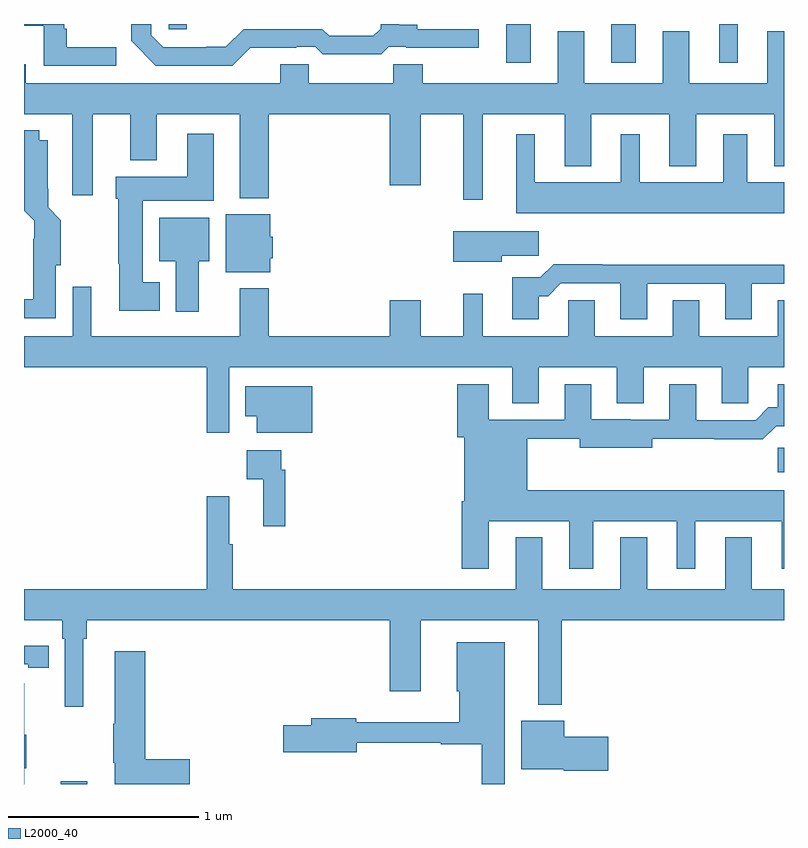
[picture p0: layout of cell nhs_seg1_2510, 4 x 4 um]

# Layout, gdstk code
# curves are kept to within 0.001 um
import gdstk
lib = gdstk.Library(unit=1e-6, precision=1e-09)
def R(c, l, rs):  # rectangles x0, y0, x1, y1
    for r in rs: c.add(gdstk.rectangle(r[:2], r[2:], *l))
def P(c, l, *ps):  # polygons
    for p in ps: c.add(gdstk.Polygon(p, *l))
L2000_40 = (2000, 40)

nhs_seg1_2510 = lib.new_cell('nhs_seg1_2510')
R(nhs_seg1_2510, L2000_40, [(247.193,556.199,247.333,556.213), (250.968,557.84,251,557.969), (249.539,559.995,249.667,560.199), (250.091,559.995,250.219,560.199), (250.658,559.995,250.756,560.199), (247.761,560.172,247.857,560.199)])
P(nhs_seg1_2510, L2000_40, [(248.192,560.075),(248.432,560.075),(248.432,560.079),(248.532,560.079),(248.572,560.04),(248.879,560.04),(248.919,560.079),(249.013,560.079),(249.013,560.075),(249.394,560.075),(249.394,560.172),(249.07,560.172),(249.07,560.195),(248.975,560.195),(248.975,560.199),(248.877,560.199),(248.877,560.175),(248.838,560.136),(248.607,560.136),(248.571,560.172),(248.157,560.172),(248.063,560.078),(247.958,560.078),(247.958,560.076),(247.734,560.076),(247.671,560.139),(247.671,560.199),(247.564,560.199),(247.564,560.111),(247.694,559.98),(248.097,559.98)],
  [(247.486,560.077),(247.225,560.077),(247.225,560.173),(247.212,560.173),(247.212,560.199),(247,560.199),(247,560.189),(247.104,560.189),(247.104,559.98),(247.486,559.98)],
  [(249.415,559.724),(249.845,559.724),(249.845,559.451),(249.985,559.451),(249.985,559.724),(250.397,559.724),(250.397,559.451),(250.537,559.451),(250.537,559.724),(250.949,559.724),(250.949,559.451),(251,559.451),(251,560.161),(250.913,560.161),(250.913,559.888),(250.501,559.888),(250.501,560.161),(250.361,560.161),(250.361,559.888),(249.949,559.888),(249.949,560.161),(249.809,560.161),(249.809,559.888),(249.099,559.888),(249.099,559.986),(248.944,559.986),(248.944,559.888),(248.499,559.888),(248.499,559.986),(248.348,559.986),(248.348,559.888),(247.009,559.888),(247.009,559.987),(247,559.987),(247,559.724),(247.253,559.724),(247.253,559.299),(247.363,559.299),(247.363,559.724),(247.559,559.724),(247.559,559.481),(247.699,559.481),(247.699,559.724),(248.135,559.724),(248.135,559.283),(248.288,559.283),(248.288,559.724),(248.924,559.724),(248.924,559.35),(249.088,559.35),(249.088,559.724),(249.311,559.724),(249.311,559.275),(249.415,559.275)],
  [(247.168,558.93),(247.194,558.93),(247.194,559.167),(247.127,559.234),(247.126,559.588),(247.081,559.588),(247.081,559.639),(247,559.639),(247,559.217),(247.053,559.164),(247.053,559.07),(247.049,559.07),(247.049,558.751),(247,558.751),(247,558.65),(247.168,558.65)],
  [(247.714,558.841),(247.624,558.841),(247.624,559.268),(247.999,559.268),(247.999,559.621),(247.859,559.621),(247.859,559.396),(247.484,559.396),(247.484,559.278),(247.495,559.278),(247.495,558.937),(247.502,558.937),(247.502,558.689),(247.714,558.689)],
  [(251,559.366),(250.807,559.366),(250.807,559.618),(250.679,559.618),(250.679,559.366),(250.24,559.366),(250.24,559.618),(250.142,559.618),(250.142,559.366),(249.688,559.366),(249.688,559.618),(249.59,559.618),(249.59,559.202),(251,559.202)],
  [(248.296,558.966),(248.308,558.966),(248.308,559.08),(248.296,559.08),(248.296,559.198),(248.063,559.198),(248.063,558.893),(248.296,558.893)],
  [(247.921,558.95),(247.975,558.95),(247.975,559.18),(247.712,559.18),(247.712,558.95),(247.799,558.95),(247.799,558.684),(247.921,558.684)],
  [(249.514,558.979),(249.709,558.979),(249.709,559.108),(249.26,559.108),(249.26,558.947),(249.514,558.947)],
  [(249.709,558.767),(249.758,558.767),(249.825,558.834),(250.139,558.834),(250.139,558.645),(250.279,558.645),(250.279,558.831),(250.691,558.831),(250.691,558.645),(250.831,558.645),(250.831,558.831),(251,558.831),(251,558.932),(250.043,558.932),(250.043,558.935),(249.788,558.935),(249.718,558.865),(249.569,558.865),(249.569,558.645),(249.709,558.645)],
  [(250.673,558.202),(250.812,558.202),(250.812,558.392),(251,558.392),(251,558.746),(250.967,558.746),(250.967,558.556),(250.555,558.556),(250.555,558.746),(250.415,558.746),(250.415,558.556),(250.003,558.556),(250.003,558.746),(249.864,558.746),(249.864,558.556),(249.415,558.556),(249.415,558.778),(249.311,558.778),(249.311,558.556),(249.088,558.556),(249.088,558.745),(248.924,558.745),(248.924,558.556),(248.288,558.556),(248.288,558.808),(248.135,558.808),(248.135,558.556),(247.354,558.556),(247.354,558.817),(247.257,558.817),(247.257,558.556),(247,558.556),(247,558.392),(247.963,558.392),(247.963,558.048),(248.079,558.048),(248.079,558.392),(249.569,558.392),(249.569,558.202),(249.709,558.202),(249.709,558.392),(250.121,558.392),(250.121,558.203),(250.261,558.203),(250.261,558.392),(250.673,558.392)],
  [(249.445,557.582),(249.869,557.582),(249.869,557.331),(249.997,557.331),(249.997,557.582),(250.436,557.582),(250.436,557.331),(250.534,557.331),(250.534,557.582),(250.988,557.582),(250.988,557.331),(251,557.331),(251,557.746),(249.649,557.746),(249.649,558.016),(249.926,558.016),(249.926,557.969),(250.306,557.969),(250.306,558.016),(250.633,558.016),(250.633,558.014),(250.889,558.014),(250.958,558.083),(251,558.083),(251,558.304),(250.967,558.304),(250.967,558.181),(250.918,558.181),(250.851,558.114),(250.537,558.114),(250.537,558.304),(250.397,558.304),(250.397,558.117),(249.985,558.118),(249.985,558.304),(249.845,558.304),(249.845,558.117),(249.445,558.117),(249.445,558.304),(249.281,558.304),(249.281,558.024),(249.317,558.024),(249.317,557.686),(249.305,557.686),(249.305,557.331),(249.445,557.331)],
  [(248.518,558.292),(248.164,558.292),(248.164,558.134),(248.225,558.134),(248.225,558.047),(248.518,558.047)],
  [(248.375,557.852),(248.355,557.852),(248.355,557.956),(248.172,557.956),(248.172,557.804),(248.258,557.804),(248.258,557.556),(248.375,557.556)],
  [(247,557.06),(247.202,557.06),(247.202,556.964),(247.215,556.964),(247.215,556.605),(247.312,556.605),(247.312,556.964),(247.331,556.964),(247.331,557.06),(248.924,557.06),(248.924,556.686),(249.088,556.686),(249.088,557.06),(249.707,557.06),(249.707,556.616),(249.829,556.616),(249.829,557.06),(251,557.06),(251,557.224),(250.831,557.224),(250.831,557.497),(250.691,557.497),(250.691,557.224),(250.279,557.224),(250.279,557.497),(250.139,557.497),(250.139,557.224),(249.727,557.224),(249.727,557.497),(249.587,557.497),(249.587,557.224),(248.099,557.224),(248.099,557.46),(248.081,557.46),(248.081,557.713),(247.963,557.713),(247.963,557.224),(247,557.224)],
  [(249.529,556.945),(249.278,556.945),(249.278,556.686),(249.29,556.686),(249.29,556.525),(248.748,556.525),(248.748,556.544),(248.513,556.544),(248.513,556.508),(248.364,556.508),(248.364,556.366),(248.752,556.366),(248.752,556.416),(249.194,556.416),(249.194,556.408),(249.408,556.408),(249.408,556.199),(249.529,556.199)],
  [(247.13,556.926),(247.022,556.926),(247.022,556.927),(247,556.927),(247,556.83),(247.022,556.83),(247.022,556.81),(247.13,556.81)],
  [(247.873,556.328),(247.637,556.328),(247.637,556.897),(247.478,556.897),(247.478,556.517),(247.471,556.517),(247.471,556.311),(247.478,556.311),(247.478,556.199),(247.873,556.199)],
  [(247.001,556.283),(247.012,556.283),(247.012,556.457),(247.001,556.457),(247.001,556.729),(247,556.729),(247,556.199),(247.001,556.199)],
  [(250.075,556.448),(249.844,556.448),(249.844,556.531),(249.617,556.531),(249.617,556.277),(249.84,556.277),(249.84,556.27),(250.075,556.27)])

lib.write_gds('nhs_seg1_2510.gds')
